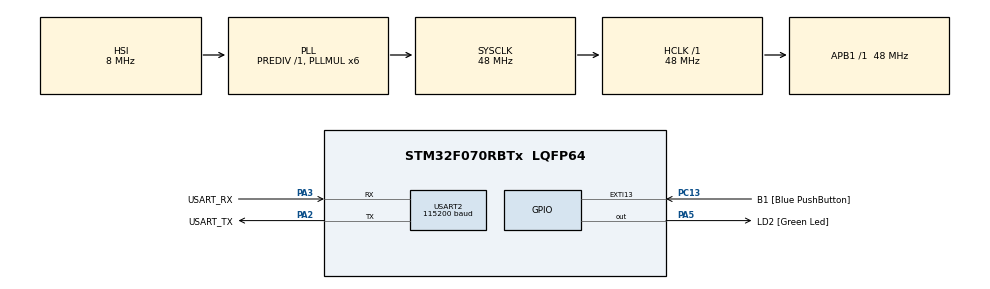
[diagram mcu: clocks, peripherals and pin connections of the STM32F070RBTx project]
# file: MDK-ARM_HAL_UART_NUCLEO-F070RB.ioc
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Dma.Request0=USART2_TX
Dma.USART2_TX.0.Direction=DMA_MEMORY_TO_PERIPH
Dma.USART2_TX.0.Instance=DMA1_Channel4
Dma.USART2_TX.0.MemDataAlignment=DMA_MDATAALIGN_BYTE
Dma.USART2_TX.0.MemInc=DMA_MINC_ENABLE
Dma.USART2_TX.0.Mode=DMA_NORMAL
Dma.USART2_TX.0.PeriphDataAlignment=DMA_PDATAALIGN_BYTE
Dma.USART2_TX.0.PeriphInc=DMA_PINC_DISABLE
Dma.USART2_TX.0.Priority=DMA_PRIORITY_LOW
Mcu.Family=STM32F0
Mcu.Name=STM32F070RBTx
Mcu.Package=LQFP64
NVIC.DMA1_Channel4_5_IRQn=true\:0\:0\:false\:false\:true\:false\:true
NVIC.USART2_IRQn=true\:0\:0\:false\:false\:true\:true\:true
PA13.GPIO_Label=TMS
PA13.Mode=Serial_Wire
PA13.Signal=SYS_SWDIO
PA14.GPIO_Label=TCK
PA14.Mode=Serial_Wire
PA14.Signal=SYS_SWCLK
PA2.GPIO_Label=USART_TX
PA2.Mode=Asynchronous
PA2.Signal=USART2_TX
PA3.GPIO_Label=USART_RX
PA3.Mode=Asynchronous
PA3.Signal=USART2_RX
PA5.GPIO_Label=LD2 [Green Led]
PA5.Signal=GPIO_Output
PC13.GPIO_Label=B1 [Blue PushButton]
PC13.GPIO_ModeDefaultEXTI=GPIO_MODE_IT_FALLING
PC13.Signal=GPXTI13
PC14-OSC32_IN.GPIO_Label=RCC_OSC32_IN
PC14-OSC32_IN.Mode=LSE-External-Oscillator
PC14-OSC32_IN.Signal=RCC_OSC32_IN
PC15-OSC32_OUT.GPIO_Label=RCC_OSC32_OUT
PC15-OSC32_OUT.Mode=LSE-External-Oscillator
PC15-OSC32_OUT.Signal=RCC_OSC32_OUT
PF0-OSC_IN.GPIO_Label=RCC_OSC_IN
PF0-OSC_IN.Mode=HSE-External-Clock-Source
PF0-OSC_IN.Signal=RCC_OSC_IN
PF1-OSC_OUT.GPIO_Label=RCC_OSC_OUT
PF1-OSC_OUT.Signal=RCC_OSC_OUT
ProjectManager.HeapSize=0x200
ProjectManager.StackSize=0x400
ProjectManager.TargetToolchain=MDK-ARM V5.27
RCC.AHBFreq_Value=48000000
RCC.APB1Freq_Value=48000000
RCC.APB1TimFreq_Value=48000000
RCC.HCLKFreq_Value=48000000
RCC.PLLMUL=RCC_PLL_MUL6
RCC.SYSCLKFreq_VALUE=48000000
RCC.SYSCLKSource=RCC_SYSCLKSOURCE_PLLCLK
USART2.BaudRate=115200
USART2.VirtualMode-Asynchronous=VM_ASYNC
board=NUCLEO-F070RB

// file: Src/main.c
/* USER CODE BEGIN Header */
/**
  ******************************************************************************
  * @file           : main.c
  * @brief          : Main program body
  ******************************************************************************
  * @attention
  *
  * <h2><center>&copy; Copyright (c) 2020 STMicroelectronics.
  * All rights reserved.</center></h2>
  *
  * This software component is licensed by ST under BSD 3-Clause license,
  * the "License"; You may not use this file except in compliance with the
  * License. You may obtain a copy of the License at:
  *                        opensource.org/licenses/BSD-3-Clause
  *
  ******************************************************************************
  */
/* USER CODE END Header */

#include "main.h"

/* USER CODE BEGIN Includes */
#include "trice.h"
/* USER CODE END Includes */

UART_HandleTypeDef huart2;
DMA_HandleTypeDef hdma_usart2_tx;

void SystemClock_Config(void);
static void MX_GPIO_Init(void);
static void MX_DMA_Init(void);
static void MX_USART2_UART_Init(void);

int main(void)
{
  /* USER CODE BEGIN 1 */
#ifdef ENCRYPT
    InitXteaTable();
#endif
  /* USER CODE END 1 */

  /* MCU Configuration--------------------------------------------------------*/

  /* Reset of all peripherals, Initializes the Flash interface and the Systick. */
  HAL_Init();

  /* Configure the system clock */
  SystemClock_Config();

  /* Initialize all configured peripherals */
  MX_GPIO_Init();
  MX_DMA_Init();
  MX_USART2_UART_Init();

  /* Infinite loop */
  /* USER CODE BEGIN WHILE */
    while( HAL_GetTick() < 500 );
    TRICE16_1( Id(59939), "TIM:timing      message, SysTick is %6d\n", SYSTICKVAL16 );
    TRICE0( Id(18178), "att:MDK-ARM_HAL_UART_NUCLEO-F070RB\n" );
    TRICE16_1( Id(14498), "TIM:timing      message, SysTick is %6d\n", SYSTICKVAL16 );
    TRICE16_1( Id(18967), "TIM:timing      message, SysTick is %6d\n", SYSTICKVAL16 );
    TRICE16_1( Id(49494), "TIM:timing      message, SysTick is %6d\n", SYSTICKVAL16 );
    TRICE16_1( Id(32793), "TIM:timing      message, SysTick is %6d\n", SYSTICKVAL16 );
  while (1)
  {
      //////////////////////////////////////////////////
      // demo trices
      //
      static uint32_t ms_1 = 0;
      uint32_t ms = HAL_GetTick();
      if( ms >= ms_1 + 1000 ){ // every sec
          static int index = 0;
          triceCheckSet(index++%20);
          TRICE32_1( Id( 6023), "time:ms = %d\n", ms );
          HAL_GPIO_TogglePin(LD2_GPIO_Port, LD2_Pin);
          ms_1 = ms;
      }
      //
      //////////////////////////////////////////////////

      //////////////////////////////////////////////////
      // needed background activity
      //
      triceServe();
      //
      //////////////////////////////////////////////////
    /* USER CODE END WHILE */

  }
}

void SystemClock_Config(void)
{
  RCC_OscInitTypeDef RCC_OscInitStruct = {0};
  RCC_ClkInitTypeDef RCC_ClkInitStruct = {0};

  /** Initializes the CPU, AHB and APB busses clocks
  */
  RCC_OscInitStruct.OscillatorType = RCC_OSCILLATORTYPE_HSI;
  RCC_OscInitStruct.HSIState = RCC_HSI_ON;
  RCC_OscInitStruct.HSICalibrationValue = RCC_HSICALIBRATION_DEFAULT;
  RCC_OscInitStruct.PLL.PLLState = RCC_PLL_ON;
  RCC_OscInitStruct.PLL.PLLSource = RCC_PLLSOURCE_HSI;
  RCC_OscInitStruct.PLL.PLLMUL = RCC_PLL_MUL6;
  RCC_OscInitStruct.PLL.PREDIV = RCC_PREDIV_DIV1;
  if (HAL_RCC_OscConfig(&RCC_OscInitStruct) != HAL_OK)
  {
    Error_Handler();
  }
  /** Initializes the CPU, AHB and APB busses clocks
  */
  RCC_ClkInitStruct.ClockType = RCC_CLOCKTYPE_HCLK|RCC_CLOCKTYPE_SYSCLK
                              |RCC_CLOCKTYPE_PCLK1;
  RCC_ClkInitStruct.SYSCLKSource = RCC_SYSCLKSOURCE_PLLCLK;
  RCC_ClkInitStruct.AHBCLKDivider = RCC_SYSCLK_DIV1;
  RCC_ClkInitStruct.APB1CLKDivider = RCC_HCLK_DIV1;

  if (HAL_RCC_ClockConfig(&RCC_ClkInitStruct, FLASH_LATENCY_1) != HAL_OK)
  {
    Error_Handler();
  }
}

static void MX_USART2_UART_Init(void)
{

  huart2.Instance = USART2;
  huart2.Init.BaudRate = 115200;
  huart2.Init.WordLength = UART_WORDLENGTH_8B;
  huart2.Init.StopBits = UART_STOPBITS_1;
  huart2.Init.Parity = UART_PARITY_NONE;
  huart2.Init.Mode = UART_MODE_TX_RX;
  huart2.Init.HwFlowCtl = UART_HWCONTROL_NONE;
  huart2.Init.OverSampling = UART_OVERSAMPLING_16;
  huart2.Init.OneBitSampling = UART_ONE_BIT_SAMPLE_DISABLE;
  huart2.AdvancedInit.AdvFeatureInit = UART_ADVFEATURE_NO_INIT;
  if (HAL_UART_Init(&huart2) != HAL_OK)
  {
    Error_Handler();
  }

}

static void MX_DMA_Init(void)
{

  /* DMA controller clock enable */
  __HAL_RCC_DMA1_CLK_ENABLE();

  /* DMA interrupt init */
  /* DMA1_Channel4_5_IRQn interrupt configuration */
  HAL_NVIC_SetPriority(DMA1_Channel4_5_IRQn, 0, 0);
  HAL_NVIC_EnableIRQ(DMA1_Channel4_5_IRQn);

}

static void MX_GPIO_Init(void)
{
  GPIO_InitTypeDef GPIO_InitStruct = {0};

  /* GPIO Ports Clock Enable */
  __HAL_RCC_GPIOC_CLK_ENABLE();
  __HAL_RCC_GPIOF_CLK_ENABLE();
  __HAL_RCC_GPIOA_CLK_ENABLE();

  /*Configure GPIO pin Output Level */
  HAL_GPIO_WritePin(LD2_GPIO_Port, LD2_Pin, GPIO_PIN_RESET);

  /*Configure GPIO pin : B1_Pin */
  GPIO_InitStruct.Pin = B1_Pin;
  GPIO_InitStruct.Mode = GPIO_MODE_IT_FALLING;
  GPIO_InitStruct.Pull = GPIO_NOPULL;
  HAL_GPIO_Init(B1_GPIO_Port, &GPIO_InitStruct);

  /*Configure GPIO pin : LD2_Pin */
  GPIO_InitStruct.Pin = LD2_Pin;
  GPIO_InitStruct.Mode = GPIO_MODE_OUTPUT_PP;
  GPIO_InitStruct.Pull = GPIO_NOPULL;
  GPIO_InitStruct.Speed = GPIO_SPEED_FREQ_LOW;
  HAL_GPIO_Init(LD2_GPIO_Port, &GPIO_InitStruct);

}

void Error_Handler(void)
{
}

/************************ (C) COPYRIGHT STMicroelectronics *****END OF FILE****/
